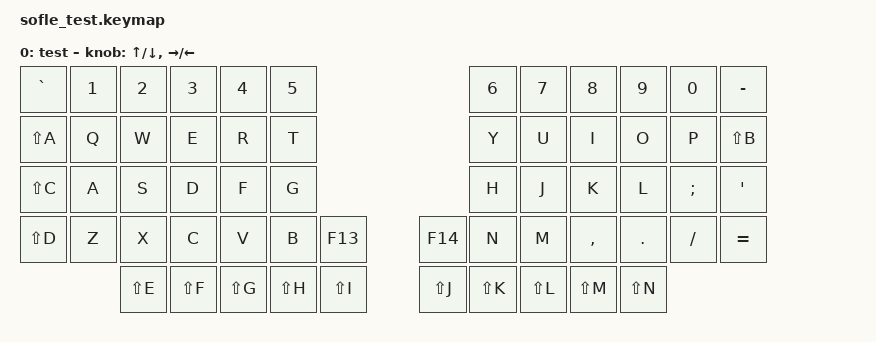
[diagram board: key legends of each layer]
/*
 * Test keymap for verifying all keys and encoders work.
 * Single layer — every key outputs a visible keycode.
 * Encoders: left = UP/DOWN arrows, right = LEFT/RIGHT arrows.
 *
 * To use: rename this to sofle.keymap (back up the original first).
 */

#include <behaviors.dtsi>
#include <dt-bindings/zmk/keys.h>

/ {
    keymap {
        compatible = "zmk,keymap";

        test_layer {
            display-name = "test";
// ---------------------------------------------------------------------------------------------------------------
// |   `   |  1  |  2  |  3  |  4  |  5  |                   |  6  |  7  |  8  |  9  |  0  |  -  |
// |   A   |  q  |  w  |  e  |  r  |  t  |                   |  y  |  u  |  i  |  o  |  p  |  B  |
// |   C   |  a  |  s  |  d  |  f  |  g  |                   |  h  |  j  |  k  |  l  |  ;  |  '  |
// |   D   |  z  |  x  |  c  |  v  |  b  | ENC_L |  | ENC_R |  n  |  m  |  ,  |  .  |  /  |  =  |
//               |  E  |  F  |  G  |  H  |   I   |  |   J   |  K  |  L  |  M  |  N  |
            bindings = <
&kp GRAVE    &kp N1 &kp N2 &kp N3   &kp N4   &kp N5                          &kp N6 &kp N7   &kp N8    &kp N9  &kp N0   &kp MINUS
&kp LS(A)    &kp Q  &kp W  &kp E    &kp R    &kp T                           &kp Y  &kp U    &kp I     &kp O   &kp P    &kp LS(B)
&kp LS(C)    &kp A  &kp S  &kp D    &kp F    &kp G                           &kp H  &kp J    &kp K     &kp L   &kp SEMI &kp SQT
&kp LS(D)    &kp Z  &kp X  &kp C    &kp V    &kp B  &kp F13    &kp F14      &kp N  &kp M    &kp COMMA &kp DOT &kp FSLH &kp EQUAL
                    &kp LS(E) &kp LS(F) &kp LS(G) &kp LS(H) &kp LS(I)  &kp LS(J) &kp LS(K) &kp LS(L) &kp LS(M) &kp LS(N)
            >;

            // Left encoder: UP/DOWN — Right encoder: LEFT/RIGHT
            sensor-bindings = <&inc_dec_kp UP DOWN &inc_dec_kp RIGHT LEFT>;
        };
    };
};
